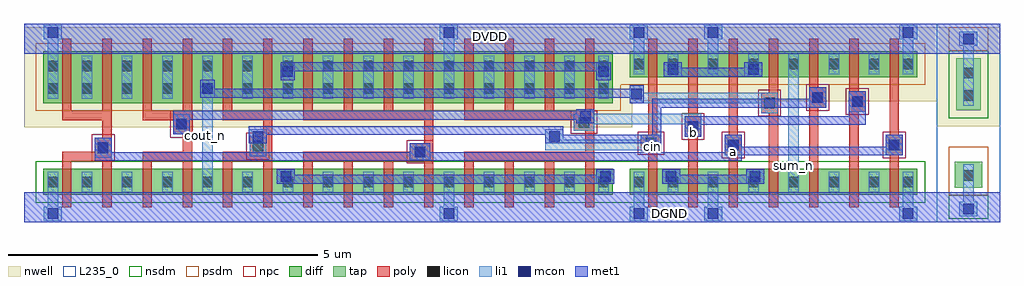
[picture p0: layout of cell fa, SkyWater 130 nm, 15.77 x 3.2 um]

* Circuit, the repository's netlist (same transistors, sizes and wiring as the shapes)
* NGSPICE file created from fa.ext - technology: sky130A

.subckt fa cin DGND DVDD b a cout_n sum_n
X0 a_n843_275# a DVDD DVDD sky130_fd_pr__pfet_01v8 ad=0.105 pd=0.92 as=0.105 ps=0.92 w=0.42 l=0.15
X1 a_n2217_n105# a_n2247_n145# cout_n DGND sky130_fd_pr__nfet_01v8 ad=0.105 pd=0.92 as=0.105 ps=0.92 w=0.42 l=0.15
X2 a_n1437_n105# b DGND DGND sky130_fd_pr__nfet_01v8 ad=0.105 pd=0.92 as=0.105 ps=0.92 w=0.42 l=0.15
X3 cout_n b a_n2477_191# DVDD sky130_fd_pr__pfet_01v8 ad=0.21 pd=1.34 as=0.21 ps=1.34 w=0.84 l=0.15
X4 a_n193_n105# b a_n323_n105# DGND sky130_fd_pr__nfet_01v8 ad=0.105 pd=0.92 as=0.105 ps=0.92 w=0.42 l=0.15
X5 a_n2737_191# a DVDD DVDD sky130_fd_pr__pfet_01v8 ad=0.21 pd=1.34 as=0.252 ps=2.28 w=0.84 l=0.15
X6 a_n2217_191# a_n2247_n145# cout_n DVDD sky130_fd_pr__pfet_01v8 ad=0.21 pd=1.34 as=0.21 ps=1.34 w=0.84 l=0.15
X7 a_n2087_n105# a_n2247_n145# a_n2217_n105# DGND sky130_fd_pr__nfet_01v8 ad=0.105 pd=0.92 as=0.105 ps=0.92 w=0.42 l=0.15
X8 a_n1307_n105# b a_n1437_n105# DGND sky130_fd_pr__nfet_01v8 ad=0.105 pd=0.92 as=0.105 ps=0.92 w=0.42 l=0.15
X9 a_n843_n105# a_n2247_n145# DGND DGND sky130_fd_pr__nfet_01v8 ad=0.105 pd=0.92 as=0.126 ps=1.44 w=0.42 l=0.15
X10 a_n2737_n105# a DGND DGND sky130_fd_pr__nfet_01v8 ad=0.105 pd=0.92 as=0.126 ps=1.44 w=0.42 l=0.15
X11 a_n2607_191# a a_n2737_191# DVDD sky130_fd_pr__pfet_01v8 ad=0.21 pd=1.34 as=0.21 ps=1.34 w=0.84 l=0.15
X12 a_n1957_n105# a a_n2087_n105# DGND sky130_fd_pr__nfet_01v8 ad=0.105 pd=0.92 as=0.105 ps=0.92 w=0.42 l=0.15
X13 a_n2087_191# a_n2247_n145# a_n2217_191# DVDD sky130_fd_pr__pfet_01v8 ad=0.21 pd=1.34 as=0.21 ps=1.34 w=0.84 l=0.15
X14 DVDD a a_n1697_191# DVDD sky130_fd_pr__pfet_01v8 ad=0.21 pd=1.34 as=0.21 ps=1.34 w=0.84 l=0.15
X15 a_n2087_191# b a_n1177_191# DVDD sky130_fd_pr__pfet_01v8 ad=0.252 pd=2.28 as=0.21 ps=1.34 w=0.84 l=0.15
X16 a_n1957_191# a a_n2087_191# DVDD sky130_fd_pr__pfet_01v8 ad=0.21 pd=1.34 as=0.21 ps=1.34 w=0.84 l=0.15
X17 DGND b a_n843_n105# DGND sky130_fd_pr__nfet_01v8 ad=0.105 pd=0.92 as=0.105 ps=0.92 w=0.42 l=0.15
X18 a_n2477_191# b a_n2607_191# DVDD sky130_fd_pr__pfet_01v8 ad=0.21 pd=1.34 as=0.21 ps=1.34 w=0.84 l=0.15
X19 a_n1437_191# b DVDD DVDD sky130_fd_pr__pfet_01v8 ad=0.21 pd=1.34 as=0.21 ps=1.34 w=0.84 l=0.15
X20 a_n1177_n105# b a_n1307_n105# DGND sky130_fd_pr__nfet_01v8 ad=0.105 pd=0.92 as=0.105 ps=0.92 w=0.42 l=0.15
X21 DGND a a_n193_n105# DGND sky130_fd_pr__nfet_01v8 ad=0.126 pd=1.44 as=0.105 ps=0.92 w=0.42 l=0.15
X22 a_n2607_n105# a a_n2737_n105# DGND sky130_fd_pr__nfet_01v8 ad=0.105 pd=0.92 as=0.105 ps=0.92 w=0.42 l=0.15
X23 a_n1827_n105# a a_n1957_n105# DGND sky130_fd_pr__nfet_01v8 ad=0.105 pd=0.92 as=0.105 ps=0.92 w=0.42 l=0.15
X24 a_n1827_191# a a_n1957_191# DVDD sky130_fd_pr__pfet_01v8 ad=0.21 pd=1.34 as=0.21 ps=1.34 w=0.84 l=0.15
X25 a_n1307_191# b a_n1437_191# DVDD sky130_fd_pr__pfet_01v8 ad=0.21 pd=1.34 as=0.21 ps=1.34 w=0.84 l=0.15
X26 a_n1697_191# a a_n1827_191# DVDD sky130_fd_pr__pfet_01v8 ad=0.21 pd=1.34 as=0.21 ps=1.34 w=0.84 l=0.15
X27 a_n1177_191# b a_n1307_191# DVDD sky130_fd_pr__pfet_01v8 ad=0.21 pd=1.34 as=0.21 ps=1.34 w=0.84 l=0.15
X28 a_n843_n105# a DGND DGND sky130_fd_pr__nfet_01v8 ad=0.105 pd=0.92 as=0.105 ps=0.92 w=0.42 l=0.15
X29 a_n2477_n105# b a_n2607_n105# DGND sky130_fd_pr__nfet_01v8 ad=0.105 pd=0.92 as=0.105 ps=0.92 w=0.42 l=0.15
X30 a_n1697_n105# a a_n1827_n105# DGND sky130_fd_pr__nfet_01v8 ad=0.105 pd=0.92 as=0.105 ps=0.92 w=0.42 l=0.15
X31 DVDD a a_n193_275# DVDD sky130_fd_pr__pfet_01v8 ad=0.126 pd=1.44 as=0.105 ps=0.92 w=0.42 l=0.15
X32 a_n2087_n105# b a_n1177_n105# DGND sky130_fd_pr__nfet_01v8 ad=0.126 pd=1.44 as=0.105 ps=0.92 w=0.42 l=0.15
X33 sum_n cout_n a_n843_275# DVDD sky130_fd_pr__pfet_01v8 ad=0.105 pd=0.92 as=0.105 ps=0.92 w=0.42 l=0.15
X34 sum_n cout_n a_n843_n105# DGND sky130_fd_pr__nfet_01v8 ad=0.105 pd=0.92 as=0.105 ps=0.92 w=0.42 l=0.15
X35 a_n843_275# a_n2247_n145# DVDD DVDD sky130_fd_pr__pfet_01v8 ad=0.105 pd=0.92 as=0.126 ps=1.44 w=0.42 l=0.15
X36 a_n323_275# a_n2247_n145# sum_n DVDD sky130_fd_pr__pfet_01v8 ad=0.105 pd=0.92 as=0.105 ps=0.92 w=0.42 l=0.15
X37 cout_n b a_n2477_n105# DGND sky130_fd_pr__nfet_01v8 ad=0.105 pd=0.92 as=0.105 ps=0.92 w=0.42 l=0.15
X38 DGND a a_n1697_n105# DGND sky130_fd_pr__nfet_01v8 ad=0.105 pd=0.92 as=0.105 ps=0.92 w=0.42 l=0.15
X39 DVDD b a_n843_275# DVDD sky130_fd_pr__pfet_01v8 ad=0.105 pd=0.92 as=0.105 ps=0.92 w=0.42 l=0.15
X40 a_n193_275# b a_n323_275# DVDD sky130_fd_pr__pfet_01v8 ad=0.105 pd=0.92 as=0.105 ps=0.92 w=0.42 l=0.15
X41 a_n323_n105# a_n2247_n145# sum_n DGND sky130_fd_pr__nfet_01v8 ad=0.105 pd=0.92 as=0.105 ps=0.92 w=0.42 l=0.15
.ends

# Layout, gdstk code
from math import pi, radians
import gdstk
lib = gdstk.Library(unit=1e-6, precision=1e-09)
def R(c, l, rs):  # rectangles x0, y0, x1, y1
    for r in rs: c.add(gdstk.rectangle(r[:2], r[2:], *l))
def A(c, l, x, y, w, h, nx, ny, dx, dy):  # array of equal rectangles
    R(c, l, [(x+i*dx, y+j*dy, x+i*dx+w, y+j*dy+h) for i in range(nx) for j in range(ny)])
def P(c, l, *ps):  # polygons
    for p in ps: c.add(gdstk.Polygon(p, *l))
nwell = (64, 20)
diff = (65, 20)
tap = (65, 44)
poly = (66, 20)
licon = (66, 44)
li1 = (67, 20)
mcon = (67, 44)
met1 = (68, 20)
nsdm = (93, 44)
psdm = (94, 20)
npc = (95, 20)
L235_0 = (235, 0)

vias_gen = lib.new_cell('vias_gen')
R(vias_gen, li1, [(0,0,0.29,0.23)])
R(vias_gen, mcon, [(0.06,0.03,0.23,0.2)])
R(vias_gen, met1, [(0,0,0.29,0.23)])

tap_ = lib.new_cell('tap')
R(tap_, nwell, [(-1.455,0.92,-0.435,2.525)])
R(tap_, tap, [(-1.17,-0.07,-0.72,0.35), (-1.14,1.18,-0.75,2.02)])
R(tap_, licon, [(-1.03,0.04,-0.86,0.21), (-1.03,1.335,-0.86,1.505), (-1.03,1.695,-0.86,1.865)])
R(tap_, li1, [(-1.03,-0.3,-0.86,-0.025), (-1.03,-0.025,-0.86,0.305), (-1.03,1.255,-0.86,1.945), (-1.03,1.945,-0.86,2.25)])
R(tap_, met1, [(-1.455,-0.625,-0.435,-0.145), (-1.455,2.095,-0.435,2.575)])
R(tap_, nsdm, [(-1.265,-0.575,-0.625,-0.195), (-1.265,1.055,-0.625,2.145)])
R(tap_, psdm, [(-1.265,-0.195,-0.625,0.59), (-1.265,2.145,-0.625,2.525)])
R(tap_, L235_0, [(-1.455,-0.625,-0.435,2.575)])
tap_.add(gdstk.Reference(vias_gen, (-1.09,-0.53)))
tap_.add(gdstk.Reference(vias_gen, (-1.09,2.22)))

vias_gen_1 = lib.new_cell('vias_gen$1')
R(vias_gen_1, li1, [(0,0,0.29,0.23)])
R(vias_gen_1, mcon, [(0.06,0.03,0.23,0.2)])
R(vias_gen_1, met1, [(0,0,0.29,0.23)])

vias_gen_2 = lib.new_cell('vias_gen$2')
R(vias_gen_2, poly, [(0,0,0.33,0.27)])
R(vias_gen_2, licon, [(0.08,0.05,0.25,0.22)])
R(vias_gen_2, li1, [(0,0,0.33,0.27)])
R(vias_gen_2, mcon, [(0.08,0.05,0.25,0.22)])
R(vias_gen_2, met1, [(0,0,0.33,0.27)])
R(vias_gen_2, npc, [(-0.05,-0.05,0.38,0.32)])

pfet_1 = lib.new_cell('pfet$1')
R(pfet_1, nwell, [(-0.315,-0.39,4.965,0.81)])
R(pfet_1, diff, [(0,0,4.65,0.42)])
A(pfet_1, poly, 0.3, -0.2, 0.15, 0.82, 7, 1, 0.65, 0)
A(pfet_1, licon, 0.615, 0.125, 0.17, 0.17, 6, 1, 0.65, 0)
R(pfet_1, licon, [(0.065,0.125,0.235,0.295), (4.415,0.125,4.585,0.295)])
A(pfet_1, li1, 0.615, 0.045, 0.17, 0.33, 6, 1, 0.65, 0)
R(pfet_1, li1, [(0.065,0.045,0.235,0.375), (4.415,0.045,4.585,0.375)])
R(pfet_1, psdm, [(-0.125,-0.125,4.775,0.545)])

nfet_1 = lib.new_cell('nfet$1')
R(nfet_1, diff, [(0,0,4.65,0.42)])
A(nfet_1, poly, 0.3, -0.2, 0.15, 0.82, 7, 1, 0.65, 0)
A(nfet_1, licon, 0.615, 0.125, 0.17, 0.17, 6, 1, 0.65, 0)
R(nfet_1, licon, [(0.065,0.125,0.235,0.295), (4.415,0.125,4.585,0.295)])
A(nfet_1, li1, 0.615, 0.045, 0.17, 0.33, 6, 1, 0.65, 0)
R(nfet_1, li1, [(0.065,0.045,0.235,0.375), (4.415,0.045,4.585,0.375)])
R(nfet_1, nsdm, [(-0.125,-0.125,4.775,0.545)])

vias_gen_4 = lib.new_cell('vias_gen$4')
R(vias_gen_4, poly, [(0,0,0.33,0.27)])
R(vias_gen_4, licon, [(0.08,0.05,0.25,0.22)])
R(vias_gen_4, li1, [(0,0,0.33,0.27)])
R(vias_gen_4, npc, [(-0.05,-0.05,0.38,0.32)])

nfet = lib.new_cell('nfet')
R(nfet, diff, [(0,0,9.2,0.42)])
A(nfet, poly, 0.3, -0.2, 0.15, 0.82, 14, 1, 0.65, 0)
A(nfet, licon, 0.615, 0.125, 0.17, 0.17, 13, 1, 0.65, 0)
R(nfet, licon, [(0.065,0.125,0.235,0.295), (8.965,0.125,9.135,0.295)])
A(nfet, li1, 0.615, 0.045, 0.17, 0.33, 13, 1, 0.65, 0)
R(nfet, li1, [(0.065,0.045,0.235,0.375), (8.965,0.045,9.135,0.375)])
R(nfet, nsdm, [(-0.125,-0.125,9.325,0.545)])

pfet = lib.new_cell('pfet')
R(pfet, nwell, [(-0.315,-0.39,9.515,1.23)])
R(pfet, diff, [(0,0,9.2,0.84)])
A(pfet, poly, 0.3, -0.2, 0.15, 1.24, 14, 1, 0.65, 0)
A(pfet, licon, 0.615, 0.155, 0.17, 0.17, 13, 2, 0.65, 0.36)
R(pfet, licon, [(0.065,0.155,0.235,0.325), (8.965,0.155,9.135,0.325), (0.065,0.515,0.235,0.685), (8.965,0.515,9.135,0.685)])
A(pfet, li1, 0.615, 0.075, 0.17, 0.69, 13, 1, 0.65, 0)
R(pfet, li1, [(0.065,0.075,0.235,0.765), (8.965,0.075,9.135,0.765)])
R(pfet, psdm, [(-0.125,-0.125,9.325,0.965)])

vias_gen_5 = lib.new_cell('vias_gen$5')
R(vias_gen_5, li1, [(0,0,0.29,0.23)])
R(vias_gen_5, mcon, [(0.06,0.03,0.23,0.2)])
R(vias_gen_5, met1, [(0,0,0.29,0.23)])

c_fa = lib.new_cell('fa')
R(c_fa, met1, [(-14.45,-0.965,-4.62,-0.485), (-1.12,0.745,-0.99,0.815), (-14.45,1.755,0.3,2.235)])
P(c_fa, met1, [(-4.62,-0.965),(-4.62,-0.79),(-4.62,-0.485),(0.3,-0.485),(0.3,-0.965)])
R(c_fa, nsdm, [(-4.81,-0.65,-4.79,0.02)])
R(c_fa, psdm, [(-4.81,1.25,-4.79,1.92)])
c_fa.add(gdstk.FlexPath([(-4.435,1.04),(-2.54,1.04)], 0.17, ends="flush", simple_path=True, layer=67, datatype=20))  # li1
c_fa.add(gdstk.FlexPath([(-13.985,-0.48),(-13.985,-0.745)], 0.17, ends="flush", simple_path=True, layer=67, datatype=20))  # li1
c_fa.add(gdstk.FlexPath([(-11.485,1.03),(-11.485,-0.15)], 0.17, ends="flush", simple_path=True, layer=67, datatype=20))  # li1
c_fa.add(gdstk.FlexPath([(-13.985,1.72),(-13.985,2.185)], 0.17, ends="flush", simple_path=True, layer=67, datatype=20))  # li1
c_fa.add(gdstk.FlexPath([(-3.505,0.7),(-5.235,0.7)], 0.17, ends="flush", simple_path=True, layer=67, datatype=20))  # li1
c_fa.add(gdstk.FlexPath([(-4.485,0.28),(-6.025,0.28)], 0.17, ends="flush", simple_path=True, layer=67, datatype=20))  # li1
c_fa.add(gdstk.FlexPath([(-0.165,1.75),(-0.165,2.185)], 0.17, ends="flush", simple_path=True, layer=67, datatype=20))  # li1
c_fa.add(gdstk.FlexPath([(-3.315,1.75),(-3.315,2.185)], 0.17, ends="flush", simple_path=True, layer=67, datatype=20))  # li1
c_fa.add(gdstk.FlexPath([(-4.515,1.75),(-4.515,2.185)], 0.17, ends="flush", simple_path=True, layer=67, datatype=20))  # li1
c_fa.add(gdstk.FlexPath([(-0.165,-0.48),(-0.165,-0.745)], 0.17, ends="flush", simple_path=True, layer=67, datatype=20))  # li1
c_fa.add(gdstk.FlexPath([(-3.315,-0.48),(-3.315,-0.745)], 0.17, ends="flush", simple_path=True, layer=67, datatype=20))  # li1
c_fa.add(gdstk.FlexPath([(-4.515,-0.48),(-4.515,-0.745)], 0.17, ends="flush", simple_path=True, layer=67, datatype=20))  # li1
c_fa.add(gdstk.FlexPath([(-2.015,-0.15),(-2.015,1.42)], 0.17, ends="flush", simple_path=True, layer=67, datatype=20))  # li1
c_fa.add(gdstk.FlexPath([(-7.585,-0.48),(-7.585,-0.745)], 0.17, ends="flush", simple_path=True, layer=67, datatype=20))  # li1
c_fa.add(gdstk.FlexPath([(-7.585,1.72),(-7.585,2.185)], 0.17, ends="flush", simple_path=True, layer=67, datatype=20))  # li1
c_fa.add(gdstk.FlexPath([(-5.235,0.76),(-12.04,0.76)], 0.14, ends="flush", simple_path=True, layer=68, datatype=20))  # met1
c_fa.add(gdstk.FlexPath([(-11.37,1.115),(-4.665,1.115)], 0.14, ends="flush", simple_path=True, layer=68, datatype=20))  # met1
c_fa.add(gdstk.FlexPath([(-2.855,0.095),(-13.305,0.095)], 0.14, ends="flush", simple_path=True, layer=68, datatype=20))  # met1
c_fa.add(gdstk.FlexPath([(-5.735,0.375),(-4.155,0.375)], 0.14, ends="flush", simple_path=True, layer=68, datatype=20))  # met1
c_fa.add(gdstk.FlexPath([(-5.735,0.515),(-10.815,0.515)], 0.14, ends="flush", simple_path=True, layer=68, datatype=20))  # met1
c_fa.add(gdstk.FlexPath([(-3.82,1.455),(-2.81,1.455)], 0.14, ends="flush", simple_path=True, layer=68, datatype=20))  # met1
c_fa.add(gdstk.FlexPath([(-1.175,0.675),(-0.92,0.675),(-0.92,0.815)], 0.14, ends="flush", simple_path=True, layer=68, datatype=20))  # met1
c_fa.add(gdstk.FlexPath([(-4.155,0.955),(-1.76,0.955)], 0.14, ends="flush", simple_path=True, layer=68, datatype=20))  # met1
c_fa.add(gdstk.FlexPath([(-3.505,0.675),(-1.175,0.675)], 0.14, ends="flush", simple_path=True, layer=68, datatype=20))  # met1
c_fa.add(gdstk.FlexPath([(-3.85,-0.275),(-2.78,-0.275)], 0.14, ends="flush", simple_path=True, layer=68, datatype=20))  # met1
c_fa.add(gdstk.FlexPath([(-2.855,0.185),(-0.525,0.185)], 0.14, ends="flush", simple_path=True, layer=68, datatype=20))  # met1
c_fa.add(gdstk.FlexPath([(-4.225,0.445),(-4.225,1.025)], 0.14, ends="flush", simple_path=True, layer=68, datatype=20))  # met1
c_fa.add(gdstk.FlexPath([(-5.2,-0.275),(-10.075,-0.275)], 0.14, ends="flush", simple_path=True, layer=68, datatype=20))  # met1
c_fa.add(gdstk.FlexPath([(-5.2,1.545),(-10.075,1.545)], 0.14, ends="flush", simple_path=True, layer=68, datatype=20))  # met1
c_fa.add(gdstk.FlexPath([(-13.185,0.095),(-13.835,0.095)], 0.15, ends="flush", simple_path=True, layer=66, datatype=20))  # poly
c_fa.add(gdstk.FlexPath([(-13.185,0.755),(-13.835,0.755)], 0.15, ends="flush", simple_path=True, layer=66, datatype=20))  # poly
c_fa.add(gdstk.FlexPath([(-11.885,0.095),(-12.535,0.095)], 0.15, ends="flush", simple_path=True, layer=66, datatype=20))  # poly
c_fa.add(gdstk.FlexPath([(-11.885,0.755),(-12.535,0.755)], 0.15, ends="flush", simple_path=True, layer=66, datatype=20))  # poly
c_fa.add(gdstk.FlexPath([(-5.235,0.095),(-7.335,0.095)], 0.15, ends="flush", simple_path=True, layer=66, datatype=20))  # poly
c_fa.add(gdstk.FlexPath([(-7.835,0.095),(-9.935,0.095)], 0.15, ends="flush", simple_path=True, layer=66, datatype=20))  # poly
c_fa.add(gdstk.FlexPath([(-7.835,0.755),(-9.935,0.755)], 0.15, ends="flush", simple_path=True, layer=66, datatype=20))  # poly
c_fa.add(gdstk.FlexPath([(-5.235,0.755),(-7.335,0.755)], 0.15, ends="flush", simple_path=True, layer=66, datatype=20))  # poly
c_fa.add(gdstk.FlexPath([(-13.11,0.755),(-13.11,0.095)], 0.15, ends="flush", simple_path=True, layer=66, datatype=20))  # poly
c_fa.add(gdstk.FlexPath([(-11.81,0.755),(-11.81,0.095)], 0.15, ends="flush", simple_path=True, layer=66, datatype=20))  # poly
c_fa.add(gdstk.FlexPath([(-10.435,0.755),(-11.235,0.755)], 0.15, ends="flush", simple_path=True, layer=66, datatype=20))  # poly
c_fa.add(gdstk.FlexPath([(-10.435,0.095),(-11.235,0.095)], 0.15, ends="flush", simple_path=True, layer=66, datatype=20))  # poly
c_fa.add(gdstk.FlexPath([(-0.39,0.095),(-0.39,1.175)], 0.15, ends="flush", simple_path=True, layer=66, datatype=20))  # poly
c_fa.add(gdstk.FlexPath([(-1.04,0.095),(-1.04,1.175)], 0.15, ends="flush", simple_path=True, layer=66, datatype=20))  # poly
c_fa.add(gdstk.FlexPath([(-1.69,0.095),(-1.69,1.175)], 0.15, ends="flush", simple_path=True, layer=66, datatype=20))  # poly
c_fa.add(gdstk.FlexPath([(-2.34,0.095),(-2.34,1.175)], 0.15, ends="flush", simple_path=True, layer=66, datatype=20))  # poly
c_fa.add(gdstk.FlexPath([(-2.99,0.095),(-2.99,1.175)], 0.15, ends="flush", simple_path=True, layer=66, datatype=20))  # poly
c_fa.add(gdstk.FlexPath([(-3.64,0.095),(-3.64,1.175)], 0.15, ends="flush", simple_path=True, layer=66, datatype=20))  # poly
c_fa.add(gdstk.FlexPath([(-4.29,0.095),(-4.29,1.175)], 0.15, ends="flush", simple_path=True, layer=66, datatype=20))  # poly
c_fa.add(gdstk.FlexPath([(-10.51,0.755),(-10.51,0.095)], 0.15, ends="flush", simple_path=True, layer=66, datatype=20))  # poly
c_fa.add(gdstk.FlexPath([(-7.91,0.755),(-7.91,0.095)], 0.15, ends="flush", simple_path=True, layer=66, datatype=20))  # poly
c_fa.add(gdstk.FlexPath([(-5.31,0.755),(-5.31,0.095)], 0.15, ends="flush", simple_path=True, layer=66, datatype=20))  # poly
c_fa.add(gdstk.Reference(tap_, (1.755,-0.34)))
c_fa.add(gdstk.Reference(vias_gen_1, (-0.31,1.985)))
c_fa.add(gdstk.Reference(vias_gen_1, (-3.46,1.985)))
c_fa.add(gdstk.Reference(vias_gen_1, (-4.66,1.985)))
c_fa.add(gdstk.Reference(vias_gen_1, (-4.11,1.385)))
c_fa.add(gdstk.Reference(vias_gen_1, (-2.81,1.385)))
c_fa.add(gdstk.Reference(vias_gen_2, (-0.255,0.115), rotation=pi/2))
c_fa.add(gdstk.Reference(vias_gen_2, (-1.49,0.885), rotation=pi/2))
c_fa.add(gdstk.Reference(vias_gen_2, (-0.85,0.815), rotation=pi/2))
c_fa.add(gdstk.Reference(vias_gen_2, (-2.855,0.115), rotation=pi/2))
c_fa.add(gdstk.Reference(pfet_1, (-4.665,1.375)))
c_fa.add(gdstk.Reference(vias_gen_1, (-2.78,-0.345)))
c_fa.add(gdstk.Reference(vias_gen_1, (-4.14,-0.345)))
c_fa.add(gdstk.Reference(vias_gen_1, (-0.31,-0.945)))
c_fa.add(gdstk.Reference(vias_gen_1, (-3.46,-0.945)))
c_fa.add(gdstk.Reference(vias_gen_1, (-4.66,-0.945)))
c_fa.add(gdstk.Reference(nfet_1, (-4.665,-0.525)))
c_fa.add(gdstk.Reference(vias_gen_4, (-2.27,0.795), rotation=pi/2))
c_fa.add(gdstk.Reference(vias_gen_1, (-4.435,0.955), rotation=pi/2))
c_fa.add(gdstk.Reference(vias_gen_1, (-10.075,1.325), rotation=pi/2))
c_fa.add(gdstk.Reference(vias_gen_1, (-4.97,1.325), rotation=pi/2))
c_fa.add(gdstk.Reference(vias_gen_1, (-7.73,1.985)))
c_fa.add(gdstk.Reference(vias_gen_1, (-14.13,1.985)))
c_fa.add(gdstk.Reference(vias_gen_4, (-5.565,0.51)))
c_fa.add(gdstk.Reference(vias_gen_2, (-8.215,0.035)))
c_fa.add(gdstk.Reference(vias_gen_2, (-11.77,0.45), rotation=pi/2))
c_fa.add(gdstk.Reference(vias_gen_2, (-13.035,0.07), rotation=pi/2))
c_fa.add(gdstk.Reference(vias_gen_4, (-10.535,0.095), rotation=pi/2))
c_fa.add(gdstk.Reference(vias_gen_1, (-5.2,-0.345)))
c_fa.add(gdstk.Reference(vias_gen_1, (-10.365,-0.345)))
c_fa.add(gdstk.Reference(vias_gen_1, (-14.13,-0.945)))
c_fa.add(gdstk.Reference(vias_gen_1, (-7.73,-0.945)))
c_fa.add(gdstk.Reference(nfet, (-14.135,-0.525)))
c_fa.add(gdstk.Reference(pfet, (-14.135,0.955)))
c_fa.add(gdstk.Reference(vias_gen_1, (-11.37,1.045), rotation=pi/2))
c_fa.add(gdstk.Reference(vias_gen_2, (-3.505,0.415), rotation=pi/2))
c_fa.add(gdstk.Reference(vias_gen_4, (-4.485,0.175)))
c_fa.add(gdstk.Reference(vias_gen_5, (-6.025,0.305)))
c_fa.add(gdstk.Reference(vias_gen_5, (-5.525,0.63)))
c_fa.add(gdstk.Reference(vias_gen_5, (-10.815,0.305)))
c_fa.add(gdstk.Label('cin', (-4.29,0.26), layer=68, texttype=5))
c_fa.add(gdstk.Label('DGND', (-4.015,-0.835), layer=68, texttype=5))
c_fa.add(gdstk.Label('DVDD', (-6.905,2.04), layer=68, texttype=5))
c_fa.add(gdstk.Label('b', (-3.64,0.485), layer=68, texttype=5))
c_fa.add(gdstk.Label('a', (-2.99,0.175), layer=68, texttype=5))
c_fa.add(gdstk.Label('cout_n', (-11.525,0.43), layer=67, texttype=5))
c_fa.add(gdstk.Label('sum_n', (-2.015,-0.045), layer=67, texttype=5))

lib.write_gds('fa.gds')
